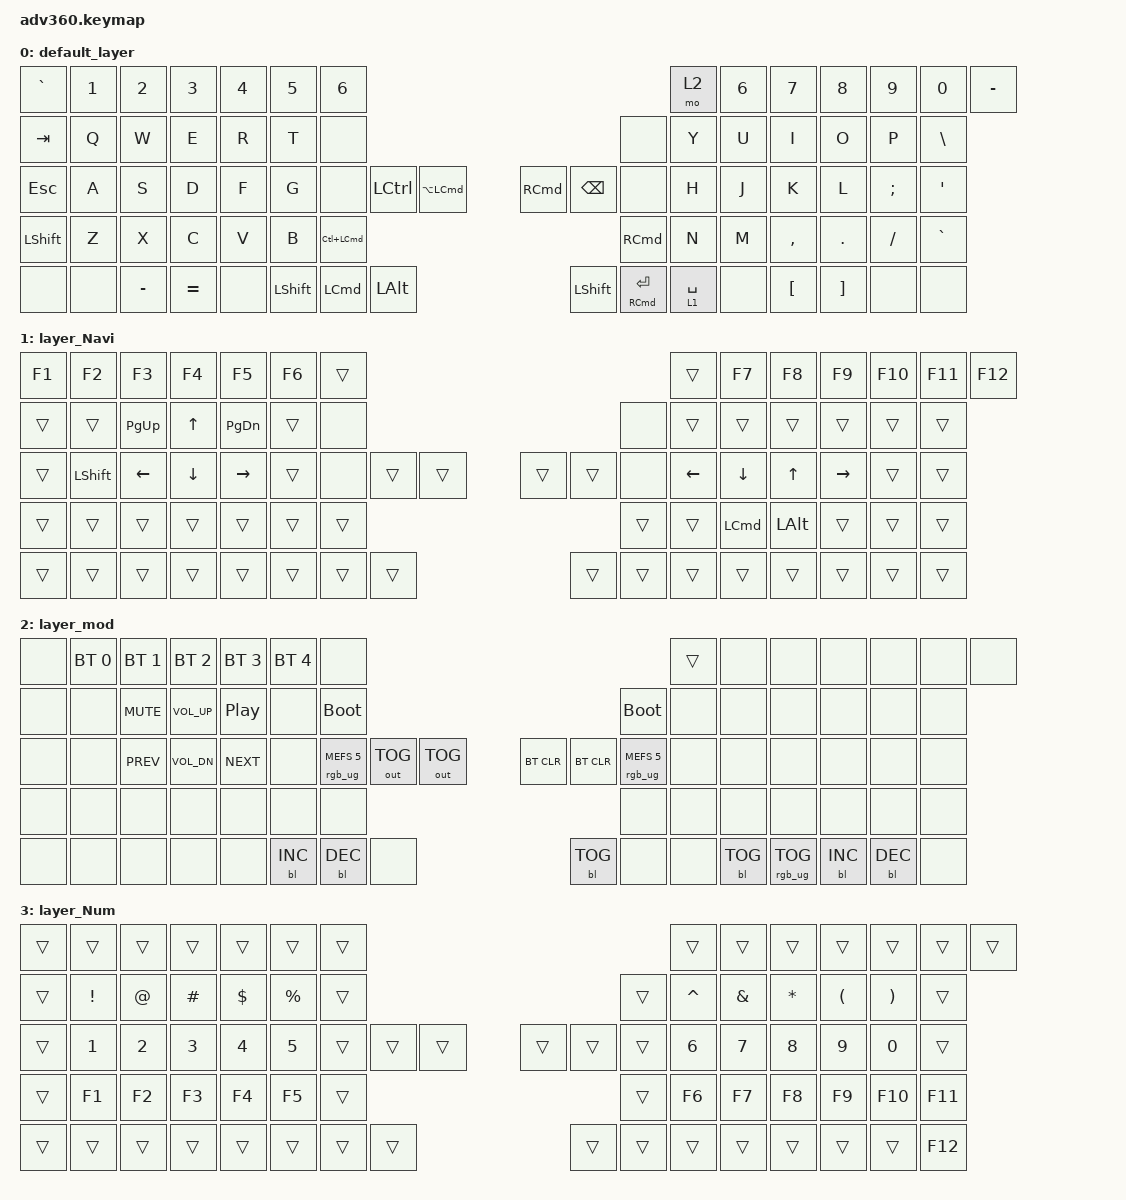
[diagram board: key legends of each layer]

/*
 * Copyright (c) 2020 The ZMK Contributors
 *
 * SPDX-License-Identifier: MIT
 */


/* THIS FILE WAS GENERATED!
 *
 * This file was generated automatically. You may or may not want to
 * edit it directly.
 */

#include <behaviors.dtsi>
#include <dt-bindings/zmk/keys.h>
#include <dt-bindings/zmk/bt.h>
#include <dt-bindings/zmk/rgb.h>
#include <dt-bindings/zmk/outputs.h>
#include <dt-bindings/zmk/backlight.h>

/ {
  behaviors {
    #include "macros.dtsi"

    hm: homerow_mods {
        compatible = "zmk,behavior-hold-tap";
        label = "HOMEROW_MODS";
        #binding-cells = <2>;
        tapping-term-ms = <200>;
        quick_tap_ms = <175>;
        flavor = "tap-preferred";
        bindings = <&kp>, <&kp>;
    };
  };

    keymap {
        compatible = "zmk,keymap";


        default_layer {
            bindings = <
 &kp GRAVE  &kp N1     &kp N2     &kp N3  &kp N4  &kp N5              &kp NUMBER_6                                                                                                    &mo 2  &kp N6  &kp N7            &kp N8             &kp N9    &kp N0  &kp MINUS
   &kp TAB   &kp Q      &kp W      &kp E   &kp R   &kp T                     &none                                                                                                    &none   &kp Y   &kp U             &kp I              &kp O     &kp P   &kp BSLH
   &kp ESC   &kp A      &kp S      &kp D   &kp F   &kp G                     &none         &kp LCTRL  &kp LA(LCMD)                  &kp RIGHT_COMMAND            &kp BACKSPACE        &none   &kp H   &kp J             &kp K              &kp L  &kp SEMI    &kp SQT
 &kp LSHFT   &kp Z      &kp X      &kp C   &kp V   &kp B                                              &kp LC(LCMD)                  &kp RIGHT_COMMAND                                         &kp N   &kp M         &kp COMMA            &kp DOT  &kp FSLH  &kp GRAVE
     &none   &none  &kp MINUS  &kp EQUAL   &none                    &kp LEFT_SHIFT  &kp LEFT_COMMAND  &kp LEFT_ALT                         &kp LSHIFT  &mt RIGHT_COMMAND ENTER  &lt 1 SPACE           &none  &kp LEFT_BRACKET  &kp RIGHT_BRACKET     &none      &none
            >;
        };

        layer_Navi {
            bindings = <
 &kp F1          &kp F2          &kp F3          &kp F4           &kp F5  &kp F6            &trans                                                  &trans          &kp F7            &kp F8        &kp F9          &kp F10  &kp F11  &kp F12
 &trans          &trans     &kp PAGE_UP    &kp UP_ARROW    &kp PAGE_DOWN  &trans             &none                                                   &none          &trans            &trans        &trans           &trans   &trans   &trans
 &trans  &kp LEFT_SHIFT  &kp LEFT_ARROW  &kp DOWN_ARROW  &kp RIGHT_ARROW  &trans             &none  &trans  &trans                  &trans  &trans   &none  &kp LEFT_ARROW    &kp DOWN_ARROW  &kp UP_ARROW  &kp RIGHT_ARROW   &trans   &trans
 &trans          &trans          &trans          &trans           &trans  &trans                            &trans                  &trans                          &trans  &kp LEFT_COMMAND  &kp LEFT_ALT           &trans   &trans   &trans
 &trans          &trans          &trans          &trans           &trans                    &trans  &trans  &trans                  &trans  &trans  &trans                            &trans        &trans           &trans   &trans   &trans
            >;
        };

        layer_mod {
            bindings = <
  &none  &bt BT_SEL 0  &bt BT_SEL 1     &bt BT_SEL 2      &bt BT_SEL 3  &bt BT_SEL 4                             &none                                                                                      &trans   &none       &none            &none       &none       &none   &none
  &none         &none    &kp C_MUTE  &kp C_VOLUME_UP  &kp C_PLAY_PAUSE         &none                       &bootloader                                                                                 &bootloader   &none       &none            &none       &none       &none   &none
  &none         &none    &kp C_PREV     &kp C_VOL_DN        &kp C_NEXT         &none            &rgb_ug RGB_MEFS_CMD 5  &out OUT_TOG  &out OUT_TOG                  &bt BT_CLR  &bt BT_CLR  &rgb_ug RGB_MEFS_CMD 5   &none       &none            &none       &none       &none   &none
  &none         &none         &none            &none             &none         &none                                                         &none                       &none                                       &none       &none            &none       &none       &none   &none
  &none         &none         &none            &none             &none                                      &bl BL_INC    &bl BL_DEC         &none                  &bl BL_TOG       &none                   &none          &bl BL_TOG  &rgb_ug RGB_TOG  &bl BL_INC  &bl BL_DEC   &none
            >;
        };

        layer_Num {
            bindings = <
 &trans           &trans        &trans        &trans        &trans        &trans            &trans                                                  &trans        &trans         &trans        &trans                &trans                 &trans   &trans
 &trans  &kp EXCLAMATION   &kp AT_SIGN      &kp HASH    &kp DOLLAR   &kp PERCENT            &trans                                                  &trans     &kp CARET  &kp AMPERSAND  &kp ASTERISK  &kp LEFT_PARENTHESIS  &kp RIGHT_PARENTHESIS   &trans
 &trans     &kp NUMBER_1  &kp NUMBER_2  &kp NUMBER_3  &kp NUMBER_4  &kp NUMBER_5            &trans  &trans  &trans                  &trans  &trans  &trans  &kp NUMBER_6   &kp NUMBER_7  &kp NUMBER_8          &kp NUMBER_9           &kp NUMBER_0   &trans
 &trans           &kp F1        &kp F2        &kp F3        &kp F4        &kp F5                            &trans                  &trans                        &kp F6         &kp F7        &kp F8                &kp F9                &kp F10  &kp F11
 &trans           &trans        &trans        &trans        &trans                          &trans  &trans  &trans                  &trans  &trans  &trans                       &trans        &trans                &trans                 &trans  &kp F12
            >;
        };

    };
};
